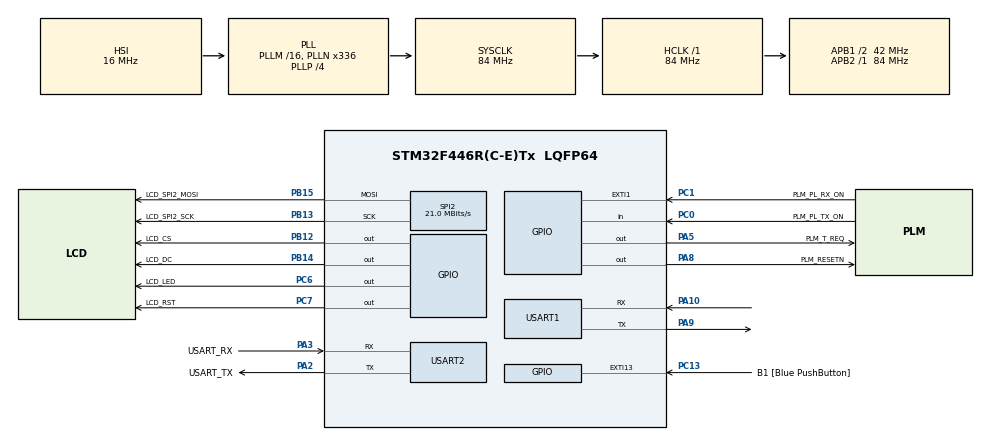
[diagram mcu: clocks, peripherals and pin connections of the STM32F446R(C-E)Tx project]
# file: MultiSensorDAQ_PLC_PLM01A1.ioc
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Dma.Request0=SPI2_TX
Dma.Request1=USART2_TX
Dma.SPI2_TX.0.Direction=DMA_MEMORY_TO_PERIPH
Dma.SPI2_TX.0.FIFOMode=DMA_FIFOMODE_DISABLE
Dma.SPI2_TX.0.Instance=DMA1_Stream4
Dma.SPI2_TX.0.MemDataAlignment=DMA_MDATAALIGN_BYTE
Dma.SPI2_TX.0.MemInc=DMA_MINC_ENABLE
Dma.SPI2_TX.0.Mode=DMA_NORMAL
Dma.SPI2_TX.0.PeriphDataAlignment=DMA_PDATAALIGN_BYTE
Dma.SPI2_TX.0.PeriphInc=DMA_PINC_DISABLE
Dma.SPI2_TX.0.Priority=DMA_PRIORITY_LOW
Dma.USART2_TX.1.Direction=DMA_MEMORY_TO_PERIPH
Dma.USART2_TX.1.FIFOMode=DMA_FIFOMODE_DISABLE
Dma.USART2_TX.1.Instance=DMA1_Stream6
Dma.USART2_TX.1.MemDataAlignment=DMA_MDATAALIGN_BYTE
Dma.USART2_TX.1.MemInc=DMA_MINC_ENABLE
Dma.USART2_TX.1.Mode=DMA_NORMAL
Dma.USART2_TX.1.PeriphDataAlignment=DMA_PDATAALIGN_BYTE
Dma.USART2_TX.1.PeriphInc=DMA_PINC_DISABLE
Dma.USART2_TX.1.Priority=DMA_PRIORITY_LOW
Mcu.Family=STM32F4
Mcu.Name=STM32F446R(C-E)Tx
Mcu.Package=LQFP64
NVIC.DMA1_Stream4_IRQn=true\:0\:0\:false\:false\:true\:true\:false\:true\:true
NVIC.DMA1_Stream6_IRQn=true\:0\:0\:false\:false\:true\:true\:false\:true\:true
NVIC.EXTI1_IRQn=true\:0\:0\:false\:false\:true\:false\:true\:true\:true
NVIC.PriorityGroup=NVIC_PRIORITYGROUP_4
NVIC.SPI2_IRQn=true\:0\:0\:false\:false\:true\:false\:true\:true\:true
NVIC.TIM6_DAC_IRQn=true\:15\:0\:false\:false\:true\:false\:false\:true\:true
NVIC.TimeBase=TIM6_DAC_IRQn
NVIC.TimeBaseIP=TIM6
NVIC.USART1_IRQn=true\:0\:0\:false\:false\:true\:false\:true\:true\:true
NVIC.USART2_IRQn=true\:0\:0\:false\:false\:true\:false\:true\:true\:true
PA10.Mode=Asynchronous
PA10.Signal=USART1_RX
PA13.GPIO_Label=TMS
PA13.Mode=Serial_Wire
PA13.Signal=SYS_JTMS-SWDIO
PA14.GPIO_Label=TCK
PA14.Mode=Serial_Wire
PA14.Signal=SYS_JTCK-SWCLK
PA2.GPIO_Label=USART_TX
PA2.Mode=Asynchronous
PA2.Signal=USART2_TX
PA3.GPIO_Label=USART_RX
PA3.Mode=Asynchronous
PA3.Signal=USART2_RX
PA5.GPIO_Label=PLM_T_REQ
PA5.GPIO_Speed=GPIO_SPEED_FREQ_HIGH
PA5.Signal=GPIO_Output
PA8.GPIO_Label=PLM_RESETN
PA8.GPIO_Speed=GPIO_SPEED_FREQ_HIGH
PA8.Signal=GPIO_Output
PA9.Mode=Asynchronous
PA9.Signal=USART1_TX
PB12.GPIO_Label=LCD_CS
PB12.GPIO_Speed=GPIO_SPEED_FREQ_VERY_HIGH
PB12.PinState=GPIO_PIN_SET
PB12.Signal=GPIO_Output
PB13.GPIO_Label=LCD_SPI2_SCK
PB13.Mode=TX_Only_Simplex_Unidirect_Master
PB13.Signal=SPI2_SCK
PB14.GPIO_Label=LCD_DC
PB14.GPIO_Speed=GPIO_SPEED_FREQ_VERY_HIGH
PB14.Signal=GPIO_Output
PB15.GPIO_Label=LCD_SPI2_MOSI
PB15.Mode=TX_Only_Simplex_Unidirect_Master
PB15.Signal=SPI2_MOSI
PB3.GPIO_Label=SWO
PB3.Signal=SYS_JTDO-SWO
PC0.GPIO_Label=PLM_PL_TX_ON
PC0.Signal=GPIO_Input
PC1.GPIO_Label=PLM_PL_RX_ON
PC1.GPIO_ModeDefaultEXTI=GPIO_MODE_IT_RISING_FALLING
PC1.Signal=GPXTI1
PC13.GPIO_Label=B1 [Blue PushButton]
PC13.GPIO_ModeDefaultEXTI=GPIO_MODE_IT_FALLING
PC13.Signal=GPXTI13
PC14-OSC32_IN.Mode=LSE-External-Oscillator
PC14-OSC32_IN.Signal=RCC_OSC32_IN
PC15-OSC32_OUT.Mode=LSE-External-Oscillator
PC15-OSC32_OUT.Signal=RCC_OSC32_OUT
PC6.GPIO_Label=LCD_LED
PC6.Signal=GPIO_Output
PC7.GPIO_Label=LCD_RST
PC7.PinState=GPIO_PIN_SET
PC7.Signal=GPIO_Output
PH0-OSC_IN.Mode=HSE-External-Oscillator
PH0-OSC_IN.Signal=RCC_OSC_IN
PH1-OSC_OUT.Mode=HSE-External-Oscillator
PH1-OSC_OUT.Signal=RCC_OSC_OUT
ProjectManager.HeapSize=0x200
ProjectManager.StackSize=0x400
ProjectManager.TargetToolchain=CMake
RCC.48MHZClocksFreq_Value=84000000
RCC.AHBFreq_Value=84000000
RCC.APB1CLKDivider=RCC_HCLK_DIV2
RCC.APB1Freq_Value=42000000
RCC.APB1TimFreq_Value=84000000
RCC.APB2Freq_Value=84000000
RCC.APB2TimFreq_Value=84000000
RCC.CortexFreq_Value=84000000
RCC.FLatency-AdvancedSettings=FLASH_LATENCY_2
RCC.HCLKFreq_Value=84000000
RCC.HSE_VALUE=8000000
RCC.HSI_VALUE=16000000
RCC.PLLN=336
RCC.PLLP=RCC_PLLP_DIV4
RCC.SYSCLKFreq_VALUE=84000000
RCC.SYSCLKSource=RCC_SYSCLKSOURCE_PLLCLK
RCC.USBFreq_Value=168000000
RCC.VCOOutputFreq_Value=336000000
SPI2.CalculateBaudRate=21.0 MBits/s
SPI2.Direction=SPI_DIRECTION_2LINES
SPI2.Mode=SPI_MODE_MASTER
SPI2.VirtualType=VM_MASTER
STMicroelectronics.X-CUBE-AZRTOS-F4.1.1.0.TX_TIMER_TICKS_PER_SECOND=1000
STMicroelectronics.X-CUBE-AZRTOS-F4.1.1.0.ThreadXCcRTOSJjThreadXJjCore=true
STMicroelectronics.X-CUBE-AZRTOS-F4.1.1.0.ThreadXCcRTOSJjThreadXJjLowOoPowerOosupport=true
STMicroelectronics.X-CUBE-AZRTOS-F4.1.1.0.ThreadXCcRTOSJjThreadXJjPerformanceInfo=true
STMicroelectronics.X-CUBE-AZRTOS-F4.1.1.0.ThreadXCcRTOSJjThreadXJjTraceXOosupport=true
STMicroelectronics.X-CUBE-AZRTOS-F4.1.1.0_IsAnAzureRtosMw=true
USART1.VirtualMode=VM_ASYNC
USART2.VirtualMode=VM_ASYNC
VP_STMicroelectronics.X-CUBE-AZRTOS-F4_VS_RTOSJjThreadX_6.1.10_1.1.0.Mode=RTOSJjThreadX
VP_SYS_VS_tim6.Mode=TIM6
board=NUCLEO-F446RE

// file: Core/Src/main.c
/* USER CODE BEGIN Header */
/**
  ******************************************************************************
  * @file           : main.c
  * @brief          : Main program body
  ******************************************************************************
  * @attention
  *
  * Copyright (c) 2026 STMicroelectronics.
  * All rights reserved.
  *
  * This software is licensed under terms that can be found in the LICENSE file
  * in the root directory of this software component.
  * If no LICENSE file comes with this software, it is provided AS-IS.
  *
  ******************************************************************************
  */
/* USER CODE END Header */
#include "app_threadx.h"
#include "main.h"

/* USER CODE BEGIN Includes */
#include "c_plc_appli.h"
#include "stm32_plm01a1.h"
#include "c_debug.h"
#include "c_lcd_ili9341.h"
/* USER CODE END Includes */

SPI_HandleTypeDef hspi2;
DMA_HandleTypeDef hdma_spi2_tx;

UART_HandleTypeDef huart1;
UART_HandleTypeDef huart2;
DMA_HandleTypeDef hdma_usart2_tx;

void SystemClock_Config(void);
static void MX_GPIO_Init(void);
static void MX_DMA_Init(void);
static void MX_USART2_UART_Init(void);
static void MX_USART1_UART_Init(void);
static void MX_SPI2_Init(void);

int main(void)
{

  /* MCU Configuration--------------------------------------------------------*/

  /* Reset of all peripherals, Initializes the Flash interface and the Systick. */
  HAL_Init();

  /* Configure the system clock */
  SystemClock_Config();

  /* Initialize all configured peripherals */
  MX_GPIO_Init();
  MX_DMA_Init();
  MX_USART2_UART_Init();
  MX_USART1_UART_Init();
  MX_SPI2_Init();
  /* USER CODE BEGIN 2 */

  /* ST7580 GPIO 초기화 (T_REQ, RESETN, PL_TX_ON, PL_RX_ON) */
  GPIO_PLM_Configuration();
  /* ST7580 UART1 초기화 (57600 baud, RXNE 인터럽트 활성화) */
  UART_PLM_Configuration();
  /* ST7580 모뎀 드라이버 초기화 */
  BSP_PLM_Init();
  /* USER 버튼(PC13) 초기화 (GPIO Input 모드) */
  BSP_PB_Init(BUTTON_KEY, BUTTON_MODE_GPIO);
  /* USART_PRINT_MSG_Configuration() 제거:
   * pUartMsgHandle 초기화 시 __HAL_LINKDMA가 hdma_usart2_tx.Parent를
   * &pUartMsgHandle로 덮어써 DMA 완료 콜백이 Debug_TxCpltHandler()에
   * 도달하지 못하는 문제 발생. printf → DMA 경로만 사용하므로 불필요. */
  /* P2P 애플리케이션 초기화 (MIB 설정, MASTER/SLAVE 역할 결정) */
  P2P_Init();
  /* Debug_Init()은 ThreadX 커널 시작 후 App_ThreadX_Init()에서 호출됩니다.
   * tx_kernel_enter() 이전에 호출 시 tx_mutex_create()가 커널 초기화로 인해
   * 무효화되어 _write()/_printf()에서 태스크가 무한 블록됩니다. */
  /* USER CODE END 2 */

  MX_ThreadX_Init();

  /* We should never get here as control is now taken by the scheduler */

  /* Infinite loop */
  /* USER CODE BEGIN WHILE */
  while (1)
  {
    /* P2P_Process()는 app_threadx.c의 PLC 태스크에서 실행됩니다. */
    /* USER CODE END WHILE */

  }
}

void SystemClock_Config(void)
{
  RCC_OscInitTypeDef RCC_OscInitStruct = {0};
  RCC_ClkInitTypeDef RCC_ClkInitStruct = {0};

  /** Configure the main internal regulator output voltage
  */
  __HAL_RCC_PWR_CLK_ENABLE();
  __HAL_PWR_VOLTAGESCALING_CONFIG(PWR_REGULATOR_VOLTAGE_SCALE3);

  /** Initializes the RCC Oscillators according to the specified parameters
  * in the RCC_OscInitTypeDef structure.
  */
  RCC_OscInitStruct.OscillatorType = RCC_OSCILLATORTYPE_HSI;
  RCC_OscInitStruct.HSIState = RCC_HSI_ON;
  RCC_OscInitStruct.HSICalibrationValue = RCC_HSICALIBRATION_DEFAULT;
  RCC_OscInitStruct.PLL.PLLState = RCC_PLL_ON;
  RCC_OscInitStruct.PLL.PLLSource = RCC_PLLSOURCE_HSI;
  RCC_OscInitStruct.PLL.PLLM = 16;
  RCC_OscInitStruct.PLL.PLLN = 336;
  RCC_OscInitStruct.PLL.PLLP = RCC_PLLP_DIV4;
  RCC_OscInitStruct.PLL.PLLQ = 2;
  RCC_OscInitStruct.PLL.PLLR = 2;
  if (HAL_RCC_OscConfig(&RCC_OscInitStruct) != HAL_OK)
  {
    Error_Handler();
  }

  /** Initializes the CPU, AHB and APB buses clocks
  */
  RCC_ClkInitStruct.ClockType = RCC_CLOCKTYPE_HCLK|RCC_CLOCKTYPE_SYSCLK
                              |RCC_CLOCKTYPE_PCLK1|RCC_CLOCKTYPE_PCLK2;
  RCC_ClkInitStruct.SYSCLKSource = RCC_SYSCLKSOURCE_PLLCLK;
  RCC_ClkInitStruct.AHBCLKDivider = RCC_SYSCLK_DIV1;
  RCC_ClkInitStruct.APB1CLKDivider = RCC_HCLK_DIV2;
  RCC_ClkInitStruct.APB2CLKDivider = RCC_HCLK_DIV1;

  if (HAL_RCC_ClockConfig(&RCC_ClkInitStruct, FLASH_LATENCY_2) != HAL_OK)
  {
    Error_Handler();
  }
}

static void MX_SPI2_Init(void)
{

  /* SPI2 parameter configuration*/
  hspi2.Instance = SPI2;
  hspi2.Init.Mode = SPI_MODE_MASTER;
  hspi2.Init.Direction = SPI_DIRECTION_2LINES;
  hspi2.Init.DataSize = SPI_DATASIZE_8BIT;
  hspi2.Init.CLKPolarity = SPI_POLARITY_LOW;
  hspi2.Init.CLKPhase = SPI_PHASE_1EDGE;
  hspi2.Init.NSS = SPI_NSS_SOFT;
  hspi2.Init.BaudRatePrescaler = SPI_BAUDRATEPRESCALER_2;
  hspi2.Init.FirstBit = SPI_FIRSTBIT_MSB;
  hspi2.Init.TIMode = SPI_TIMODE_DISABLE;
  hspi2.Init.CRCCalculation = SPI_CRCCALCULATION_DISABLE;
  hspi2.Init.CRCPolynomial = 10;
  if (HAL_SPI_Init(&hspi2) != HAL_OK)
  {
    Error_Handler();
  }

}

static void MX_USART1_UART_Init(void)
{

  huart1.Instance = USART1;
  huart1.Init.BaudRate = 115200;
  huart1.Init.WordLength = UART_WORDLENGTH_8B;
  huart1.Init.StopBits = UART_STOPBITS_1;
  huart1.Init.Parity = UART_PARITY_NONE;
  huart1.Init.Mode = UART_MODE_TX_RX;
  huart1.Init.HwFlowCtl = UART_HWCONTROL_NONE;
  huart1.Init.OverSampling = UART_OVERSAMPLING_16;
  if (HAL_UART_Init(&huart1) != HAL_OK)
  {
    Error_Handler();
  }

}

static void MX_USART2_UART_Init(void)
{

  huart2.Instance = USART2;
  huart2.Init.BaudRate = 115200;
  huart2.Init.WordLength = UART_WORDLENGTH_8B;
  huart2.Init.StopBits = UART_STOPBITS_1;
  huart2.Init.Parity = UART_PARITY_NONE;
  huart2.Init.Mode = UART_MODE_TX_RX;
  huart2.Init.HwFlowCtl = UART_HWCONTROL_NONE;
  huart2.Init.OverSampling = UART_OVERSAMPLING_16;
  if (HAL_UART_Init(&huart2) != HAL_OK)
  {
    Error_Handler();
  }

}

static void MX_DMA_Init(void)
{

  /* DMA controller clock enable */
  __HAL_RCC_DMA1_CLK_ENABLE();

  /* DMA interrupt init */
  /* DMA1_Stream4_IRQn interrupt configuration */
  HAL_NVIC_SetPriority(DMA1_Stream4_IRQn, 0, 0);
  HAL_NVIC_EnableIRQ(DMA1_Stream4_IRQn);
  /* DMA1_Stream6_IRQn interrupt configuration */
  HAL_NVIC_SetPriority(DMA1_Stream6_IRQn, 0, 0);
  HAL_NVIC_EnableIRQ(DMA1_Stream6_IRQn);

}

static void MX_GPIO_Init(void)
{
  GPIO_InitTypeDef GPIO_InitStruct = {0};

  /* GPIO Ports Clock Enable */
  __HAL_RCC_GPIOC_CLK_ENABLE();
  __HAL_RCC_GPIOH_CLK_ENABLE();
  __HAL_RCC_GPIOA_CLK_ENABLE();
  __HAL_RCC_GPIOB_CLK_ENABLE();

  /*Configure GPIO pin Output Level */
  HAL_GPIO_WritePin(GPIOA, PLM_T_REQ_Pin|PLM_RESETN_Pin, GPIO_PIN_RESET);

  /*Configure GPIO pin Output Level */
  HAL_GPIO_WritePin(LCD_CS_GPIO_Port, LCD_CS_Pin, GPIO_PIN_SET);

  /*Configure GPIO pin Output Level */
  HAL_GPIO_WritePin(LCD_DC_GPIO_Port, LCD_DC_Pin, GPIO_PIN_RESET);

  /*Configure GPIO pin Output Level */
  HAL_GPIO_WritePin(LCD_LED_GPIO_Port, LCD_LED_Pin, GPIO_PIN_RESET);

  /*Configure GPIO pin Output Level */
  HAL_GPIO_WritePin(LCD_RST_GPIO_Port, LCD_RST_Pin, GPIO_PIN_SET);

  /*Configure GPIO pin : B1_Pin */
  GPIO_InitStruct.Pin = B1_Pin;
  GPIO_InitStruct.Mode = GPIO_MODE_IT_FALLING;
  GPIO_InitStruct.Pull = GPIO_NOPULL;
  HAL_GPIO_Init(B1_GPIO_Port, &GPIO_InitStruct);

  /*Configure GPIO pin : PLM_PL_TX_ON_Pin */
  GPIO_InitStruct.Pin = PLM_PL_TX_ON_Pin;
  GPIO_InitStruct.Mode = GPIO_MODE_INPUT;
  GPIO_InitStruct.Pull = GPIO_NOPULL;
  HAL_GPIO_Init(PLM_PL_TX_ON_GPIO_Port, &GPIO_InitStruct);

  /*Configure GPIO pin : PLM_PL_RX_ON_Pin */
  GPIO_InitStruct.Pin = PLM_PL_RX_ON_Pin;
  GPIO_InitStruct.Mode = GPIO_MODE_IT_RISING_FALLING;
  GPIO_InitStruct.Pull = GPIO_NOPULL;
  HAL_GPIO_Init(PLM_PL_RX_ON_GPIO_Port, &GPIO_InitStruct);

  /*Configure GPIO pins : PLM_T_REQ_Pin PLM_RESETN_Pin */
  GPIO_InitStruct.Pin = PLM_T_REQ_Pin|PLM_RESETN_Pin;
  GPIO_InitStruct.Mode = GPIO_MODE_OUTPUT_PP;
  GPIO_InitStruct.Pull = GPIO_NOPULL;
  GPIO_InitStruct.Speed = GPIO_SPEED_FREQ_HIGH;
  HAL_GPIO_Init(GPIOA, &GPIO_InitStruct);

  /*Configure GPIO pins : LCD_CS_Pin LCD_DC_Pin */
  GPIO_InitStruct.Pin = LCD_CS_Pin|LCD_DC_Pin;
  GPIO_InitStruct.Mode = GPIO_MODE_OUTPUT_PP;
  GPIO_InitStruct.Pull = GPIO_NOPULL;
  GPIO_InitStruct.Speed = GPIO_SPEED_FREQ_VERY_HIGH;
  HAL_GPIO_Init(GPIOB, &GPIO_InitStruct);

  /*Configure GPIO pins : LCD_LED_Pin LCD_RST_Pin */
  GPIO_InitStruct.Pin = LCD_LED_Pin|LCD_RST_Pin;
  GPIO_InitStruct.Mode = GPIO_MODE_OUTPUT_PP;
  GPIO_InitStruct.Pull = GPIO_NOPULL;
  GPIO_InitStruct.Speed = GPIO_SPEED_FREQ_LOW;
  HAL_GPIO_Init(GPIOC, &GPIO_InitStruct);

  /* EXTI interrupt init*/
  HAL_NVIC_SetPriority(EXTI1_IRQn, 0, 0);
  HAL_NVIC_EnableIRQ(EXTI1_IRQn);

}

/* USER CODE BEGIN 4 */

void HAL_UART_TxCpltCallback(UART_HandleTypeDef *huart)
{
    if (huart == &DEBUG_UART_INSTANCE) {
        Debug_TxCpltHandler();
    }
}

void HAL_SPI_TxCpltCallback(SPI_HandleTypeDef *hspi)
{
    if (hspi == &LCD_SPI_INSTANCE) {
        LCD_DmaCpltHandler();
    }
}

/* USER CODE END 4 */

void HAL_TIM_PeriodElapsedCallback(TIM_HandleTypeDef *htim)
{
  if (htim->Instance == TIM6)
  {
    HAL_IncTick();
  }
}

void Error_Handler(void)
{
  __disable_irq();
  while (1)
  {
  }
}
